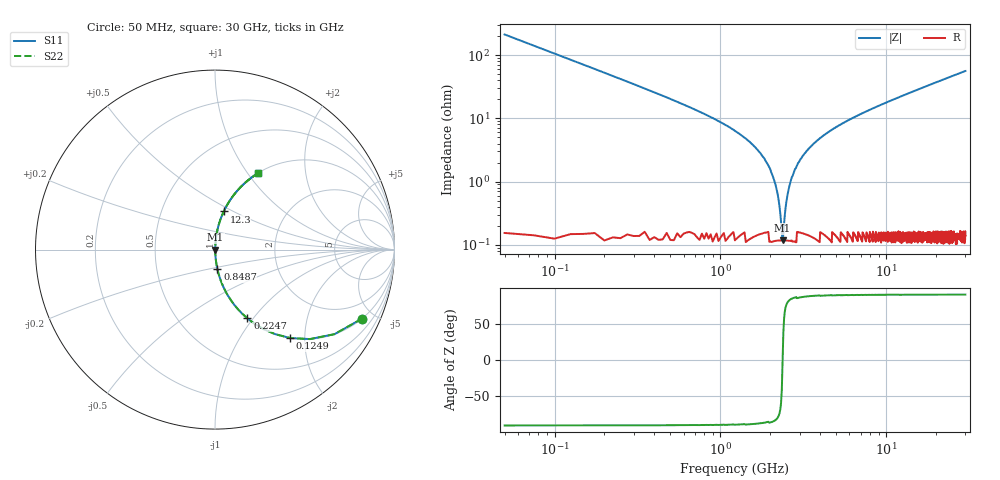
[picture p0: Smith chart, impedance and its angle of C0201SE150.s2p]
!	AVX Thin Film Operation 	Date: April 2014
!	Description: Accu-P® Series, Thin Film  SMD RF Capacitor
!	Part Number: 0201YK150FBSTR
# MHZ S MA R 50
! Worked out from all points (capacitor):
!   1201 points, 50 MHz to 30 GHz, reference 50 ohm
!   read as one part in series: C = 15 pF near 199.8 MHz
!   lowest |Z| = 118 mohm at 2.371 GHz (marker M1)
!   series resonance near 2.373 GHz, so ESL is about 300 pH
!   S11 on the Smith chart (normalised r, x): 50 MHz: 1.01, -4.24; 124.9 MHz: 1.00, -1.69; 224.7 MHz: 1.00, -0.94; 848.7 MHz: 1.00, -0.22; 12.3 GHz: 1.00, +0.45; 30 GHz: 1.00, +1.12
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50  0.904 -25.2  0.426 64.7  0.426 64.7  0.904 -25.2
124.875  0.646 -49.7  0.762 40.2  0.762 40.2  0.646 -49.7
224.708  0.423 -64.8  0.905 25.0  0.905 25.0  0.423 -64.8
399.417  0.25 -75.2  0.967 14.5  0.967 14.5  0.25 -75.2
848.667  0.108 -83.1  0.993 6.2  0.993 6.2  0.108 -83.1
1847  0.023 -85.3  0.998 1.3  0.998 1.3  0.023 -85.3
2071.625  0.012 -83.0  0.999 0.7  0.999 0.7  0.012 -83.0
2271.292  0.004123 -70.7  0.999 0.2  0.999 0.2  0.004123 -70.7
2371.125  0.001349 -2.3  0.999 0.0  0.999 0.0  0.001349 -2.3
2470.958  0.003874 69.4  0.999 -0.2  0.999 -0.2  0.003874 69.4
2620.708  0.009002 80.9  0.999 -0.5  0.999 -0.5  0.009002 80.9
2745.5  0.013 83.4  0.999 -0.8  0.999 -0.8  0.013 83.4
3169.792  0.026 85.6  0.998 -1.5  0.998 -1.5  0.026 85.6
3893.583  0.046 85.7  0.998 -2.6  0.998 -2.6  0.046 85.7
5041.667  0.074 84.7  0.996 -4.2  0.996 -4.2  0.074 84.7
6988.417  0.116 82.7  0.992 -6.6  0.992 -6.6  0.116 82.7
10058.29  0.176 79.4  0.983 -10.1  0.983 -10.1  0.176 79.4
12304.54  0.218 77.1  0.975 -12.6  0.975 -12.6  0.218 77.1
15025  0.266 74.3  0.963 -15.4  0.963 -15.4  0.266 74.3
20016.67  0.348 69.4  0.936 -20.4  0.936 -20.4  0.348 69.4
25033.29  0.423 64.8  0.905 -25.0  0.905 -25.0  0.423 64.8
30000  0.489 60.6  0.871 -29.3  0.871 -29.3  0.489 60.6
